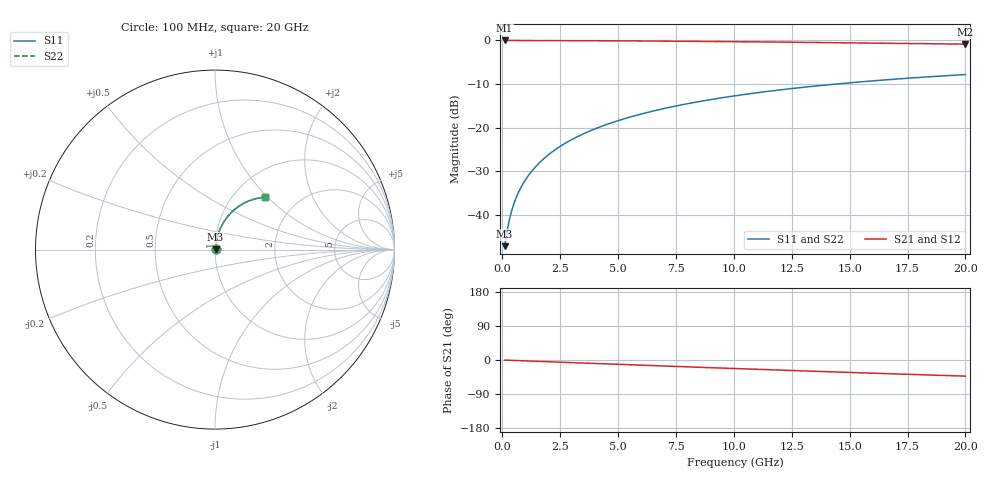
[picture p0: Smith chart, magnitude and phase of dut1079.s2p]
! Touchstone file exported from HFSS 2026.1.0
!  File:  C:/ffzhzh/LocalFiles/Ansys_Project_Files/temp_train_BSMRDL_1079_1783174416_18472.aedt
!  Generated:  10:14:49 PM Jul  4, 2026
!  Design:  BSMRDL
!  Project:  temp_train_BSMRDL_1079_1783174416_18472
! Variables:
!  h_bsmrdl = 2.58um
!  h_ox = 20um
!  h_rdl = 5um
!  h_sub = 80um
!  h_tmrdl = 5um
!  h_tsv = 80um
!  h_via = 3um
!  l_bsmrdl = 594.29um
!  l_sub = 994.29um
!  l_tmrdl = 200um
!  m_sub = 200um
!  pitch = 56.55um
!  r_tsv = 6um
!  s_tmrdl = 10um
!  w_bsmrdl = 25.36um
!  w_sub = 500um
!  w_tmrdl = 12um
!  x_tsv_center1 = 206um
!  x_tsv_center2 = 825.65um
!  x_tsv_center3 = 1037.65um
!  x_tsv_center4 = 1657.3um
!  x_tsv_center5 = 1869.3um
!  x_tsv_center6 = 2488.95um
# GHz S MA R 50.000000
! Terminal data exported
! Port[1] = BSM_RDL1_1_T1
! Port[2] = BSM_RDL1_1_T2
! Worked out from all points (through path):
!   200 points, 100 MHz to 20 GHz, reference 50 ohm
!   highest |S21| = -0.03 dB at 100 MHz (marker M1); lowest = -0.9 dB at 20 GHz (marker M2)
!   group delay of S21, straight-line fit = 5.92 ps
!   lowest |S11| = -47.1 dB at 100 MHz (marker M3), VSWR 1.01, Z = 50.4 + j0.269 ohm
!   |S11| at or under -10 dB: start of sweep to 14.41 GHz
!   |S22| runs from -47.1 to -7.8 dB; largest |S21 - S12| = 2.1e-15
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0.1  0.004416 37.2  0.9965 -0.2  0.9965 -0.2  0.004416 37.2
! Gamma 0 0 0 0
! Port Impedance 50 0 50 0
0.2  0.006444 55.2  0.9964 -0.5  0.9964 -0.5  0.006444 55.2
0.3  0.008754 63.6  0.9962 -0.7  0.9962 -0.7  0.008754 63.6
0.4  0.01112 68.2  0.996 -1.0  0.996 -1.0  0.01112 68.2
0.5  0.01349 71.1  0.9958 -1.2  0.9958 -1.2  0.01349 71.1
0.6  0.01585 73.2  0.9957 -1.4  0.9957 -1.4  0.01585 73.2
0.8  0.02058 75.8  0.9954 -1.9  0.9954 -1.9  0.02058 75.8
1.1  0.0277 78.0  0.9951 -2.6  0.9951 -2.6  0.0277 78.0
1.3  0.03247 78.8  0.9949 -3.0  0.9949 -3.0  0.03247 78.8
1.6  0.03964 79.5  0.9945 -3.7  0.9945 -3.7  0.03964 79.5
2.1  0.05164 79.8  0.9939 -4.8  0.9939 -4.8  0.05164 79.8
2.7  0.06602 79.5  0.9929 -6.2  0.9929 -6.2  0.06602 79.5
3.5  0.08512 78.5  0.9912 -8.0  0.9912 -8.0  0.08512 78.5
4.2  0.1017 77.4  0.9895 -9.6  0.9895 -9.6  0.1017 77.4
5  0.1205 75.9  0.9871 -11.4  0.9871 -11.4  0.1205 75.9
5.9  0.1413 74.1  0.9841 -13.5  0.9841 -13.5  0.1413 74.2
6.8  0.1617 72.3  0.9806 -15.5  0.9806 -15.5  0.1617 72.3
8.3  0.1949 69.2  0.974 -18.8  0.974 -18.8  0.1949 69.2
10.1  0.233 65.5  0.965 -22.7  0.965 -22.7  0.233 65.5
13.4  0.2978 58.8  0.9461 -29.6  0.9461 -29.6  0.2978 58.8
16.7  0.3554 52.3  0.9254 -36.2  0.9254 -36.2  0.3554 52.3
20  0.4056 46.1  0.9041 -42.5  0.9041 -42.5  0.4056 46.1
